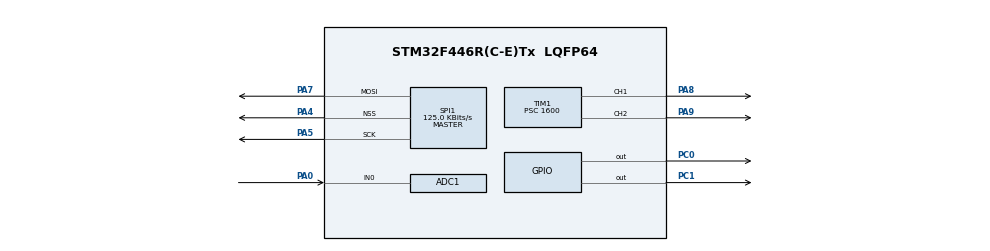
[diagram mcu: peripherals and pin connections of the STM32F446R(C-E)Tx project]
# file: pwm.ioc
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ADC1.Channel-0\#ChannelRegularConversion=ADC_CHANNEL_0
ADC1.ContinuousConvMode=ENABLE
ADC1.DMAContinuousRequests=ENABLE
ADC1.NbrOfConversionFlag=1
ADC1.Rank-0\#ChannelRegularConversion=1
ADC1.SamplingTime-0\#ChannelRegularConversion=ADC_SAMPLETIME_3CYCLES
ADC1.master=1
Dma.ADC1.0.Direction=DMA_PERIPH_TO_MEMORY
Dma.ADC1.0.FIFOMode=DMA_FIFOMODE_DISABLE
Dma.ADC1.0.Instance=DMA2_Stream0
Dma.ADC1.0.MemDataAlignment=DMA_MDATAALIGN_HALFWORD
Dma.ADC1.0.MemInc=DMA_MINC_ENABLE
Dma.ADC1.0.Mode=DMA_NORMAL
Dma.ADC1.0.PeriphDataAlignment=DMA_PDATAALIGN_HALFWORD
Dma.ADC1.0.PeriphInc=DMA_PINC_DISABLE
Dma.ADC1.0.Priority=DMA_PRIORITY_HIGH
Dma.Request0=ADC1
Mcu.Family=STM32F4
Mcu.Name=STM32F446R(C-E)Tx
Mcu.Package=LQFP64
NVIC.DMA2_Stream0_IRQn=true\:0\:0\:false\:false\:true\:false\:true\:true
NVIC.PriorityGroup=NVIC_PRIORITYGROUP_4
PA0-WKUP.Signal=ADCx_IN0
PA4.Mode=NSS_Signal_Hard_Output
PA4.Signal=SPI1_NSS
PA5.Mode=TX_Only_Simplex_Unidirect_Master
PA5.Signal=SPI1_SCK
PA7.Mode=TX_Only_Simplex_Unidirect_Master
PA7.Signal=SPI1_MOSI
PA8.Signal=S_TIM1_CH1
PA9.Signal=S_TIM1_CH2
PC0.Signal=GPIO_Output
PC1.Signal=GPIO_Output
ProjectManager.HeapSize=0x200
ProjectManager.StackSize=0x400
ProjectManager.TargetToolchain=MDK-ARM V5
RCC.CortexFreq_Value=16000000
RCC.USBFreq_Value=96000000
RCC.VCOOutputFreq_Value=192000000
SH.ADCx_IN0.0=ADC1_IN0,IN0
SH.S_TIM1_CH1.0=TIM1_CH1,PWM Generation1 CH1
SH.S_TIM1_CH2.0=TIM1_CH2,PWM Generation2 CH2
SPI1.BaudRatePrescaler=SPI_BAUDRATEPRESCALER_128
SPI1.CalculateBaudRate=125.0 KBits/s
SPI1.Direction=SPI_DIRECTION_2LINES
SPI1.Mode=SPI_MODE_MASTER
SPI1.VirtualNSS=VM_NSSHARD
SPI1.VirtualType=VM_MASTER
TIM1.Channel-PWM\ Generation1\ CH1=TIM_CHANNEL_1
TIM1.Channel-PWM\ Generation2\ CH2=TIM_CHANNEL_2
TIM1.OCFastMode_PWM-PWM\ Generation2\ CH2=TIM_OCFAST_DISABLE
TIM1.OCMode_PWM-PWM\ Generation2\ CH2=TIM_OCMODE_PWM2
TIM1.OCPolarity_2=TIM_OCPOLARITY_LOW
TIM1.Period=19
TIM1.Prescaler=1600
TIM1.Pulse-PWM\ Generation1\ CH1=2
TIM1.Pulse-PWM\ Generation2\ CH2=18
TIM2.Period=0xffff-1
TIM2.Prescaler=16-1
VP_TIM2_VS_ClockSourceINT.Mode=Internal
board=custom

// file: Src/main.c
/* USER CODE BEGIN Header */
/**
  ******************************************************************************
  * @file           : main.c
  * @brief          : Main program body
  ******************************************************************************
  ** This notice applies to any and all portions of this file
  * that are not between comment pairs USER CODE BEGIN and
  * USER CODE END. Other portions of this file, whether
  * inserted by the user or by software development tools
  * are owned by their respective copyright owners.
  *
  * COPYRIGHT(c) 2023 STMicroelectronics
  *
  * Redistribution and use in source and binary forms, with or without modification,
  * are permitted provided that the following conditions are met:
  *   1. Redistributions of source code must retain the above copyright notice,
  *      this list of conditions and the following disclaimer.
  *   2. Redistributions in binary form must reproduce the above copyright notice,
  *      this list of conditions and the following disclaimer in the documentation
  *      and/or other materials provided with the distribution.
  *   3. Neither the name of STMicroelectronics nor the names of its contributors
  *      may be used to endorse or promote products derived from this software
  *      without specific prior written permission.
  *
  * THIS SOFTWARE IS PROVIDED BY THE COPYRIGHT HOLDERS AND CONTRIBUTORS "AS IS"
  * AND ANY EXPRESS OR IMPLIED WARRANTIES, INCLUDING, BUT NOT LIMITED TO, THE
  * IMPLIED WARRANTIES OF MERCHANTABILITY AND FITNESS FOR A PARTICULAR PURPOSE ARE
  * DISCLAIMED. IN NO EVENT SHALL THE COPYRIGHT HOLDER OR CONTRIBUTORS BE LIABLE
  * FOR ANY DIRECT, INDIRECT, INCIDENTAL, SPECIAL, EXEMPLARY, OR CONSEQUENTIAL
  * DAMAGES (INCLUDING, BUT NOT LIMITED TO, PROCUREMENT OF SUBSTITUTE GOODS OR
  * SERVICES; LOSS OF USE, DATA, OR PROFITS; OR BUSINESS INTERRUPTION) HOWEVER
  * CAUSED AND ON ANY THEORY OF LIABILITY, WHETHER IN CONTRACT, STRICT LIABILITY,
  * OR TORT (INCLUDING NEGLIGENCE OR OTHERWISE) ARISING IN ANY WAY OUT OF THE USE
  * OF THIS SOFTWARE, EVEN IF ADVISED OF THE POSSIBILITY OF SUCH DAMAGE.
  *
  ******************************************************************************
  */
/* USER CODE END Header */

#include "main.h"

/* USER CODE BEGIN Includes */
#include "string.h"
#include "float.h"
#include <math.h>
/* USER CODE END Includes */

/* USER CODE BEGIN PD */

#define BUFFER_SIZE 100
#define FILTER_SIZE 10
#define Fs 100.0
#define Npts 1024
#define tau 1.0/(2.0*3.14*4.0) // 4 = 4 hz fréq de coupure
#define PEAK_THRESHOLD 100.0 // Seuil de détection des pics

/* USER CODE END PD */

ADC_HandleTypeDef hadc1;
DMA_HandleTypeDef hdma_adc1;

SPI_HandleTypeDef hspi1;

TIM_HandleTypeDef htim1;
TIM_HandleTypeDef htim2;

/* USER CODE BEGIN PV */
volatile float R;
uint32_t redBuffer[BUFFER_SIZE];
uint32_t irBuffer[BUFFER_SIZE];
uint32_t adcValue;
uint8_t currentLed=0,bufferIndex;
float redDC, redAC, irDC, irAC;
int dataReady = 0;
uint32_t adc_buffer[512];
uint32_t conversion_done = 0;
volatile float SpO2;
uint32_t peakTimes[BUFFER_SIZE];
int peakCount;
float heartRate;
float maxValue = 0.0;
float minValue = FLT_MAX;

/* USER CODE END PV */

void SystemClock_Config(void);
static void MX_GPIO_Init(void);
static void MX_DMA_Init(void);
static void MX_TIM1_Init(void);
static void MX_SPI1_Init(void);
static void MX_ADC1_Init(void);
static void MX_TIM2_Init(void);
/* USER CODE BEGIN PFP */
void HAL_ADC_ConvCpltCallback(ADC_HandleTypeDef *hadc);
void calculateACDC(uint32_t *buffer, uint16_t size, float *dc, float *ac);
void update_diplay(float SPO2);
/* USER CODE END PFP */

/* USER CODE BEGIN 0 */

// Fonction pour détecter les pics

// Fonction pour détecter les pics dans un ensemble de données
int detectPeaks(uint32_t *buffer, uint16_t size, uint32_t *peakTimes) {
  int peakCount = 0;  // Initialisation du compteur de pics à 0
  for (uint16_t i = 1; i < size - 1; i++) {  // Parcourir les données
    // Vérifier si l'élément actuel est un pic, c'est-à-dire s'il est plus grand que ses voisins
    // et dépasse le seuil défini
    if (buffer[i] > buffer[i - 1] && buffer[i] > buffer[i + 1] && buffer[i] > PEAK_THRESHOLD) {
      peakTimes[peakCount] = i;  // Si c'est un pic, enregistrer son indice
      peakCount++;  // Incrémenter le compteur de pics
    }
  }
  return peakCount;  // Retourner le nombre total de pics détectés
}

// Fonction pour calculer la fréquence cardiaque à partir des temps de pic
float calculateHeartRate(uint32_t *peakTimes, int peakCount) {
  if (peakCount < 2) {
    return 0.0; // Pas assez de pics pour calculer la fréquence cardiaque
  }

  float timeSum = 0.0;  // Initialisation de la somme des temps entre les pics
  for (int i = 1; i < peakCount; i++) {  // Parcourir les temps de pic
    timeSum += peakTimes[i] - peakTimes[i - 1];  // Ajouter le temps entre le pic actuel et le précédent à la somme
  }
  float avgTimeBetweenPeaks = timeSum / (peakCount - 1);  // Calculer le temps moyen entre les pics

  // Convertir la différence de temps en fréquence cardiaque (en battements par minute)
  float heartRate = 60.0 * (1000.0 / avgTimeBetweenPeaks);
  return heartRate;  // Retourner la fréquence cardiaque calculée
}

// Fonction pour effectuer un filtrage passe-bas sur une valeur d'entrée
float lowPassFilter(float input, float prevOutput)
{
    // Coefficient de lissage exponentiel
    // L'alpha est déterminé en fonction de la fréquence d'échantillonnage (Fs) et de la constante de temps (tau)
    float alpha = 1.0 - exp(-1.0/(Fs*tau));

    // Calcul de la sortie filtrée
    // L'entrée actuelle est pondérée par alpha, et la sortie précédente est pondérée par (1.0-alpha)
    float output = alpha*input + (1.0-alpha)*prevOutput;

    return output; // Retourne la valeur filtrée
}

// Fonction pour mettre à jour l'affichage avec une nouvelle valeur de SpO2
void update_diplay(float spo2){
    char spo2_str[10];
    // on convertir la valeur float spo2 en chaîne de caractères avec une précision d'un chiffre après la virgule
    snprintf(spo2_str, sizeof(spo2_str), "%.1f", spo2);
    // on parcourir la chaîne de caractères
    for(int i = 0;i<strlen(spo2_str);i++){
        // envoye de chaque caractère à l'afficheur via SPI
        HAL_SPI_Transmit(&hspi1, (uint8_t*)&spo2_str[i], 1, 1000);
        // attente d'un court instant entre chaque transmission
        HAL_Delay(1);
    }
}

// Fonction pour calculer la composante continue (DC) et alternative (AC) d'un signal
void calculateACDC(uint32_t *buffer, uint16_t size, float *dc, float *ac) {
  float sum = 0.0;
  float maxValue = -INFINITY;
  float minValue = INFINITY;

  // Parcours du buffer pour trouver la somme, le maximum et le minimum
  for (uint16_t i = 0; i < size; i++) {
    sum += buffer[i];
    if (buffer[i] > maxValue) {
      maxValue = buffer[i];
    }
    if (buffer[i] < minValue) {
      minValue = buffer[i];
    }
  }
  // La composante continue (DC) est la moyenne des valeurs
  *dc = sum / size;
  // La composante alternative (AC) est la moitié de la différence entre le maximum et le minimum
  *ac = (maxValue - minValue) / 2.0;
}

// Fonction pour calculer la saturation en oxygène (SpO2) à partir des valeurs AC et DC du rouge et de l'infrarouge
float calculateSpO2(float redAC, float redDC, float irAC, float irDC) {
  // le calcul du rapport de modulation (R) pour les signaux rouge et infrarouge
  float R = (redAC / redDC) / (irAC / irDC);

  // l'Utilisation de la formule empirique pour calculer SpO2 à partir de la valeur R
  float SpO2 = 0.3557*R*R*R - 5.186*R*R - 18.34*R + 108.4;

  return SpO2; // Retourne la valeur SpO2
}

// Fonction de rappel qui est appelée lorsque la conversion ADC est terminée
void HAL_ADC_ConvCpltCallback(ADC_HandleTypeDef *hadc){
  // Incrémenter le compteur de conversion terminée
  conversion_done++;
  // Vérifier si la conversion a été effectuée par ADC1
  if(hadc->Instance == ADC1){
    // Vérifier si la LED actuelle est rouge
    if(currentLed == 0){
      // Appliquer le filtre passe-bas à la valeur ADC et stocker le résultat dans le buffer rouge
      redBuffer[bufferIndex] = lowPassFilter(adcValue,redBuffer[bufferIndex]);
    }else{
      // Appliquer le filtre passe-bas à la valeur ADC et stocker le résultat dans le buffer infrarouge
      irBuffer[bufferIndex] = lowPassFilter(adcValue,irBuffer[bufferIndex]);
    }
    // Augmenter l'index du buffer
    bufferIndex++;
    // Si l'index du buffer atteint la taille du buffer, le réinitialiser à 0
    if(bufferIndex>= BUFFER_SIZE){
      bufferIndex = 0;
    }
  }
  // Marquer les données comme prêtes à être traitées
  dataReady=1;
}

/* USER CODE END 0 */

int main(void)
{

  /* MCU Configuration--------------------------------------------------------*/

  /* Reset of all peripherals, Initializes the Flash interface and the Systick. */
  HAL_Init();

  /* Configure the system clock */
  SystemClock_Config();

  /* Initialize all configured peripherals */
  MX_GPIO_Init();
  MX_DMA_Init();
  MX_TIM1_Init();
  MX_SPI1_Init();
  MX_ADC1_Init();
  MX_TIM2_Init();

  /* Infinite loop */
  while (1)
  {

  }
}

void SystemClock_Config(void)
{
  RCC_OscInitTypeDef RCC_OscInitStruct = {0};
  RCC_ClkInitTypeDef RCC_ClkInitStruct = {0};

  /**Configure the main internal regulator output voltage
  */
  __HAL_RCC_PWR_CLK_ENABLE();
  __HAL_PWR_VOLTAGESCALING_CONFIG(PWR_REGULATOR_VOLTAGE_SCALE3);
  /**Initializes the CPU, AHB and APB busses clocks
  */
  RCC_OscInitStruct.OscillatorType = RCC_OSCILLATORTYPE_HSI;
  RCC_OscInitStruct.HSIState = RCC_HSI_ON;
  RCC_OscInitStruct.HSICalibrationValue = RCC_HSICALIBRATION_DEFAULT;
  RCC_OscInitStruct.PLL.PLLState = RCC_PLL_NONE;
  if (HAL_RCC_OscConfig(&RCC_OscInitStruct) != HAL_OK)
  {
    Error_Handler();
  }
  /**Initializes the CPU, AHB and APB busses clocks
  */
  RCC_ClkInitStruct.ClockType = RCC_CLOCKTYPE_HCLK|RCC_CLOCKTYPE_SYSCLK
                              |RCC_CLOCKTYPE_PCLK1|RCC_CLOCKTYPE_PCLK2;
  RCC_ClkInitStruct.SYSCLKSource = RCC_SYSCLKSOURCE_HSI;
  RCC_ClkInitStruct.AHBCLKDivider = RCC_SYSCLK_DIV1;
  RCC_ClkInitStruct.APB1CLKDivider = RCC_HCLK_DIV1;
  RCC_ClkInitStruct.APB2CLKDivider = RCC_HCLK_DIV1;

  if (HAL_RCC_ClockConfig(&RCC_ClkInitStruct, FLASH_LATENCY_0) != HAL_OK)
  {
    Error_Handler();
  }
}

static void MX_ADC1_Init(void)
{

  ADC_ChannelConfTypeDef sConfig = {0};

  /**Configure the global features of the ADC (Clock, Resolution, Data Alignment and number of conversion)
  */
  hadc1.Instance = ADC1;
  hadc1.Init.ClockPrescaler = ADC_CLOCK_SYNC_PCLK_DIV2;
  hadc1.Init.Resolution = ADC_RESOLUTION_12B;
  hadc1.Init.ScanConvMode = DISABLE;
  hadc1.Init.ContinuousConvMode = ENABLE;
  hadc1.Init.DiscontinuousConvMode = DISABLE;
  hadc1.Init.ExternalTrigConvEdge = ADC_EXTERNALTRIGCONVEDGE_NONE;
  hadc1.Init.ExternalTrigConv = ADC_SOFTWARE_START;
  hadc1.Init.DataAlign = ADC_DATAALIGN_RIGHT;
  hadc1.Init.NbrOfConversion = 1;
  hadc1.Init.DMAContinuousRequests = ENABLE;
  hadc1.Init.EOCSelection = ADC_EOC_SINGLE_CONV;
  if (HAL_ADC_Init(&hadc1) != HAL_OK)
  {
    Error_Handler();
  }
  /**Configure for the selected ADC regular channel its corresponding rank in the sequencer and its sample time.
  */
  sConfig.Channel = ADC_CHANNEL_0;
  sConfig.Rank = 1;
  sConfig.SamplingTime = ADC_SAMPLETIME_3CYCLES;
  if (HAL_ADC_ConfigChannel(&hadc1, &sConfig) != HAL_OK)
  {
    Error_Handler();
  }

}

static void MX_SPI1_Init(void)
{

  /* SPI1 parameter configuration*/
  hspi1.Instance = SPI1;
  hspi1.Init.Mode = SPI_MODE_MASTER;
  hspi1.Init.Direction = SPI_DIRECTION_2LINES;
  hspi1.Init.DataSize = SPI_DATASIZE_8BIT;
  hspi1.Init.CLKPolarity = SPI_POLARITY_LOW;
  hspi1.Init.CLKPhase = SPI_PHASE_1EDGE;
  hspi1.Init.NSS = SPI_NSS_HARD_OUTPUT;
  hspi1.Init.BaudRatePrescaler = SPI_BAUDRATEPRESCALER_128;
  hspi1.Init.FirstBit = SPI_FIRSTBIT_MSB;
  hspi1.Init.TIMode = SPI_TIMODE_DISABLE;
  hspi1.Init.CRCCalculation = SPI_CRCCALCULATION_DISABLE;
  hspi1.Init.CRCPolynomial = 10;
  if (HAL_SPI_Init(&hspi1) != HAL_OK)
  {
    Error_Handler();
  }

}

static void MX_TIM1_Init(void)
{

  TIM_MasterConfigTypeDef sMasterConfig = {0};
  TIM_OC_InitTypeDef sConfigOC = {0};
  TIM_BreakDeadTimeConfigTypeDef sBreakDeadTimeConfig = {0};

  htim1.Instance = TIM1;
  htim1.Init.Prescaler = 1600;
  htim1.Init.CounterMode = TIM_COUNTERMODE_UP;
  htim1.Init.Period = 19;
  htim1.Init.ClockDivision = TIM_CLOCKDIVISION_DIV1;
  htim1.Init.RepetitionCounter = 0;
  if (HAL_TIM_PWM_Init(&htim1) != HAL_OK)
  {
    Error_Handler();
  }
  sMasterConfig.MasterOutputTrigger = TIM_TRGO_RESET;
  sMasterConfig.MasterSlaveMode = TIM_MASTERSLAVEMODE_DISABLE;
  if (HAL_TIMEx_MasterConfigSynchronization(&htim1, &sMasterConfig) != HAL_OK)
  {
    Error_Handler();
  }
  sConfigOC.OCMode = TIM_OCMODE_PWM1;
  sConfigOC.Pulse = 2;
  sConfigOC.OCPolarity = TIM_OCPOLARITY_HIGH;
  sConfigOC.OCNPolarity = TIM_OCNPOLARITY_HIGH;
  sConfigOC.OCFastMode = TIM_OCFAST_DISABLE;
  sConfigOC.OCIdleState = TIM_OCIDLESTATE_RESET;
  sConfigOC.OCNIdleState = TIM_OCNIDLESTATE_RESET;
  if (HAL_TIM_PWM_ConfigChannel(&htim1, &sConfigOC, TIM_CHANNEL_1) != HAL_OK)
  {
    Error_Handler();
  }
  sConfigOC.OCMode = TIM_OCMODE_PWM2;
  sConfigOC.Pulse = 18;
  sConfigOC.OCPolarity = TIM_OCPOLARITY_LOW;
  if (HAL_TIM_PWM_ConfigChannel(&htim1, &sConfigOC, TIM_CHANNEL_2) != HAL_OK)
  {
    Error_Handler();
  }
  sBreakDeadTimeConfig.OffStateRunMode = TIM_OSSR_DISABLE;
  sBreakDeadTimeConfig.OffStateIDLEMode = TIM_OSSI_DISABLE;
  sBreakDeadTimeConfig.LockLevel = TIM_LOCKLEVEL_OFF;
  sBreakDeadTimeConfig.DeadTime = 0;
  sBreakDeadTimeConfig.BreakState = TIM_BREAK_DISABLE;
  sBreakDeadTimeConfig.BreakPolarity = TIM_BREAKPOLARITY_HIGH;
  sBreakDeadTimeConfig.AutomaticOutput = TIM_AUTOMATICOUTPUT_DISABLE;
  if (HAL_TIMEx_ConfigBreakDeadTime(&htim1, &sBreakDeadTimeConfig) != HAL_OK)
  {
    Error_Handler();
  }
  HAL_TIM_MspPostInit(&htim1);

}

static void MX_TIM2_Init(void)
{

  TIM_ClockConfigTypeDef sClockSourceConfig = {0};
  TIM_MasterConfigTypeDef sMasterConfig = {0};

  htim2.Instance = TIM2;
  htim2.Init.Prescaler = 16-1;
  htim2.Init.CounterMode = TIM_COUNTERMODE_UP;
  htim2.Init.Period = 0xffff-1;
  htim2.Init.ClockDivision = TIM_CLOCKDIVISION_DIV1;
  if (HAL_TIM_Base_Init(&htim2) != HAL_OK)
  {
    Error_Handler();
  }
  sClockSourceConfig.ClockSource = TIM_CLOCKSOURCE_INTERNAL;
  if (HAL_TIM_ConfigClockSource(&htim2, &sClockSourceConfig) != HAL_OK)
  {
    Error_Handler();
  }
  sMasterConfig.MasterOutputTrigger = TIM_TRGO_RESET;
  sMasterConfig.MasterSlaveMode = TIM_MASTERSLAVEMODE_DISABLE;
  if (HAL_TIMEx_MasterConfigSynchronization(&htim2, &sMasterConfig) != HAL_OK)
  {
    Error_Handler();
  }

}

static void MX_DMA_Init(void)
{
  /* DMA controller clock enable */
  __HAL_RCC_DMA2_CLK_ENABLE();

  /* DMA interrupt init */
  /* DMA2_Stream0_IRQn interrupt configuration */
  HAL_NVIC_SetPriority(DMA2_Stream0_IRQn, 0, 0);
  HAL_NVIC_EnableIRQ(DMA2_Stream0_IRQn);

}

static void MX_GPIO_Init(void)
{
  GPIO_InitTypeDef GPIO_InitStruct = {0};

  /* GPIO Ports Clock Enable */
  __HAL_RCC_GPIOC_CLK_ENABLE();
  __HAL_RCC_GPIOA_CLK_ENABLE();

  /*Configure GPIO pin Output Level */
  HAL_GPIO_WritePin(GPIOC, GPIO_PIN_0|GPIO_PIN_1, GPIO_PIN_RESET);

  /*Configure GPIO pins : PC0 PC1 */
  GPIO_InitStruct.Pin = GPIO_PIN_0|GPIO_PIN_1;
  GPIO_InitStruct.Mode = GPIO_MODE_OUTPUT_PP;
  GPIO_InitStruct.Pull = GPIO_NOPULL;
  GPIO_InitStruct.Speed = GPIO_SPEED_FREQ_LOW;
  HAL_GPIO_Init(GPIOC, &GPIO_InitStruct);

}

void Error_Handler(void)
{
}

/************************ (C) COPYRIGHT STMicroelectronics *****END OF FILE****/
